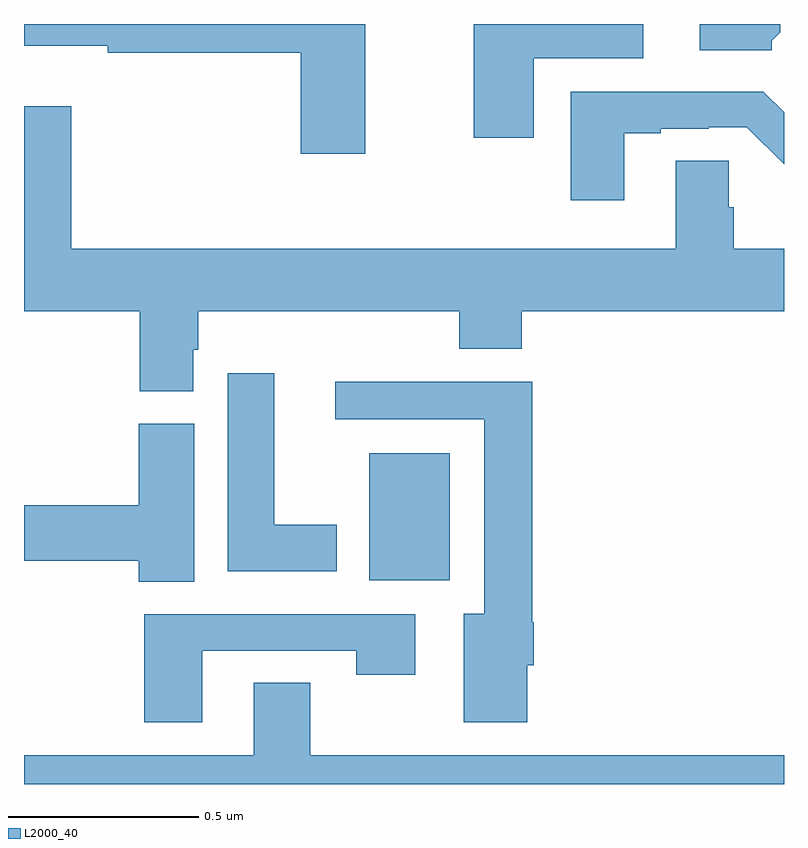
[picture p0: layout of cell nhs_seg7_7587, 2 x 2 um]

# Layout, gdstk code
import gdstk
lib = gdstk.Library(unit=1e-6, precision=1e-09)
def R(c, l, rs):  # rectangles x0, y0, x1, y1
    for r in rs: c.add(gdstk.rectangle(r[:2], r[2:], *l))
def P(c, l, *ps):  # polygons
    for p in ps: c.add(gdstk.Polygon(p, *l))
L2000_40 = (2000, 40)

nhs_seg7_7587 = lib.new_cell('nhs_seg7_7587')
R(nhs_seg7_7587, L2000_40, [(213.908,1038.536,214.12,1038.871)])
P(nhs_seg7_7587, L2000_40, [(213.898,1040),(213,1040),(213,1039.943),(213.22,1039.943),(213.22,1039.924),(213.728,1039.924),(213.728,1039.659),(213.898,1039.659)],
  [(214.968,1039.956),(214.99,1039.978),(214.99,1040),(214.778,1040),(214.778,1039.931),(214.968,1039.931)],
  [(214.342,1039.91),(214.63,1039.91),(214.63,1040),(214.184,1040),(214.184,1039.701),(214.342,1039.701)],
  [(214.579,1039.713),(214.675,1039.713),(214.675,1039.725),(214.802,1039.725),(214.802,1039.728),(214.902,1039.728),(215,1039.631),(215,1039.768),(214.946,1039.822),(214.439,1039.822),(214.439,1039.536),(214.579,1039.536)],
  [(213.445,1039.143),(213.458,1039.143),(213.458,1039.244),(214.145,1039.244),(214.145,1039.145),(214.31,1039.145),(214.31,1039.244),(215,1039.244),(215,1039.408),(214.868,1039.408),(214.868,1039.518),(214.854,1039.518),(214.854,1039.64),(214.715,1039.64),(214.715,1039.408),(213.124,1039.408),(213.124,1039.783),(213,1039.783),(213,1039.244),(213.305,1039.244),(213.305,1039.033),(213.445,1039.033)],
  [(213.823,1038.682),(213.658,1038.682),(213.658,1039.081),(213.536,1039.081),(213.536,1038.56),(213.823,1038.56)],
  [(214.324,1038.312),(214.342,1038.312),(214.342,1038.426),(214.337,1038.426),(214.337,1039.058),(213.819,1039.058),(213.819,1038.96),(214.211,1038.96),(214.211,1038.448),(214.157,1038.448),(214.157,1038.162),(214.324,1038.162)],
  [(213.448,1038.948),(213.302,1038.948),(213.302,1038.734),(213,1038.734),(213,1038.587),(213.302,1038.587),(213.302,1038.532),(213.448,1038.532)],
  [(213.469,1038.351),(213.874,1038.351),(213.874,1038.288),(214.03,1038.288),(214.03,1038.447),(213.317,1038.447),(213.317,1038.162),(213.469,1038.162)],
  [(215,1038.076),(213.753,1038.076),(213.753,1038.266),(213.605,1038.266),(213.605,1038.076),(213,1038.076),(213,1038),(215,1038)])

lib.write_gds('nhs_seg7_7587.gds')
